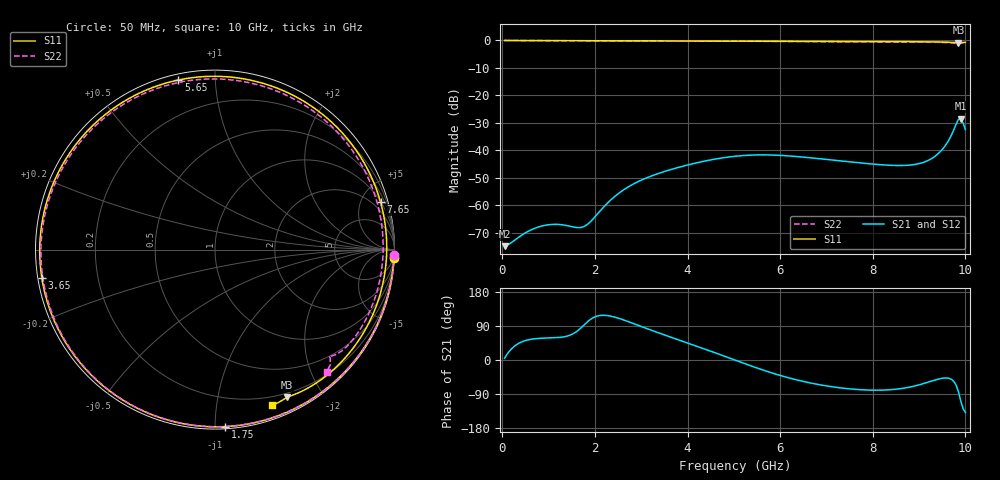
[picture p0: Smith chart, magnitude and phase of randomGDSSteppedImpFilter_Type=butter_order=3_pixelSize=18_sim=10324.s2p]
! freq	dB(S11)	phase(S11)	dB(S12)	phase(S12)
!  dB(S21)	phase(S21)	dB(S22)	phase(S22)
!S-par simulation data
#  GHz  S  DB  R 50
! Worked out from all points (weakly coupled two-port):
!   200 points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, 50 MHz to 10 GHz, reference 50 ohm
!   highest |S21| = -28.39 dB at 9.9 GHz (marker M1); lowest = -74.8 dB at 50 MHz (marker M2)
!   lowest |S11| = -0.8 dB at 9.85 GHz (marker M3), VSWR 22.81, Z = 7.76 - j79.4 ohm
!   |S11| at or under -10 dB: nowhere
!   |S22| runs from -1.2 to 0.0 dB; largest |S21 - S12| = 0
!   S11 on the Smith chart (normalised r, x): 50 MHz: 1, -43; 1.75 GHz: 0.01, -1.06; 3.65 GHz: 0.01, -0.08; 5.65 GHz: 0.03, +0.81; 7.65 GHz: 1.04, +6.95; 10 GHz: 0.12, -1.42
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0.05  -0.01 -2.7  -74.83 4.6  -74.83 4.6  -0.02 -1.8
0.45  -0.04 -23.1  -70.48 49.3  -70.48 49.3  -0.03 -16.5
0.85  -0.06 -43.2  -67.50 57.5  -67.50 57.5  -0.04 -31.2
1.3  -0.08 -65.4  -67.06 60.5  -67.06 60.5  -0.06 -47.4
1.75  -0.11 -86.8  -67.77 90.6  -67.77 90.6  -0.08 -63.4
2.6  -0.15 -125.4  -54.56 106.6  -54.56 106.6  -0.12 -92.9
3.4  -0.18 -160.1  -48.22 70.5  -48.22 70.5  -0.16 -120.3
3.65  -0.20 -170.8  -46.91 59.7  -46.91 59.7  -0.17 -128.9
4.35  -0.23 159.1  -43.95 29.9  -43.95 29.9  -0.21 -153.4
5.05  -0.27 128.7  -42.08 -1.3  -42.08 -1.3  -0.26 -179.1
5.65  -0.29 102.2  -41.62 -27.3  -41.62 -27.3  -0.32 157.1
6.15  -0.31 80.0  -41.96 -46.0  -41.96 -46.0  -0.36 135.7
6.7  -0.33 55.9  -42.76 -61.8  -42.76 -61.8  -0.41 110.3
7.2  -0.34 34.5  -43.63 -72.0  -43.63 -72.0  -0.44 85.6
7.65  -0.36 16.0  -44.42 -77.7  -44.42 -77.7  -0.47 62.4
8.35  -0.41 -11.0  -45.39 -78.7  -45.39 -78.7  -0.52 26.0
8.8  -0.45 -27.4  -45.34 -71.5  -45.34 -71.5  -0.56 3.3
9.3  -0.54 -45.0  -42.64 -54.5  -42.64 -54.5  -0.64 -20.6
9.6  -0.63 -55.5  -37.40 -47.5  -37.40 -47.5  -0.77 -34.3
9.85  -0.76 -64.1  -28.68 -84.1  -28.68 -84.1  -1.22 -43.0
9.9  -0.73 -65.7  -28.39 -108.2  -28.39 -108.2  -1.10 -43.2
10  -0.71 -70.0  -32.42 -138.4  -32.42 -138.4  -0.70 -47.6
